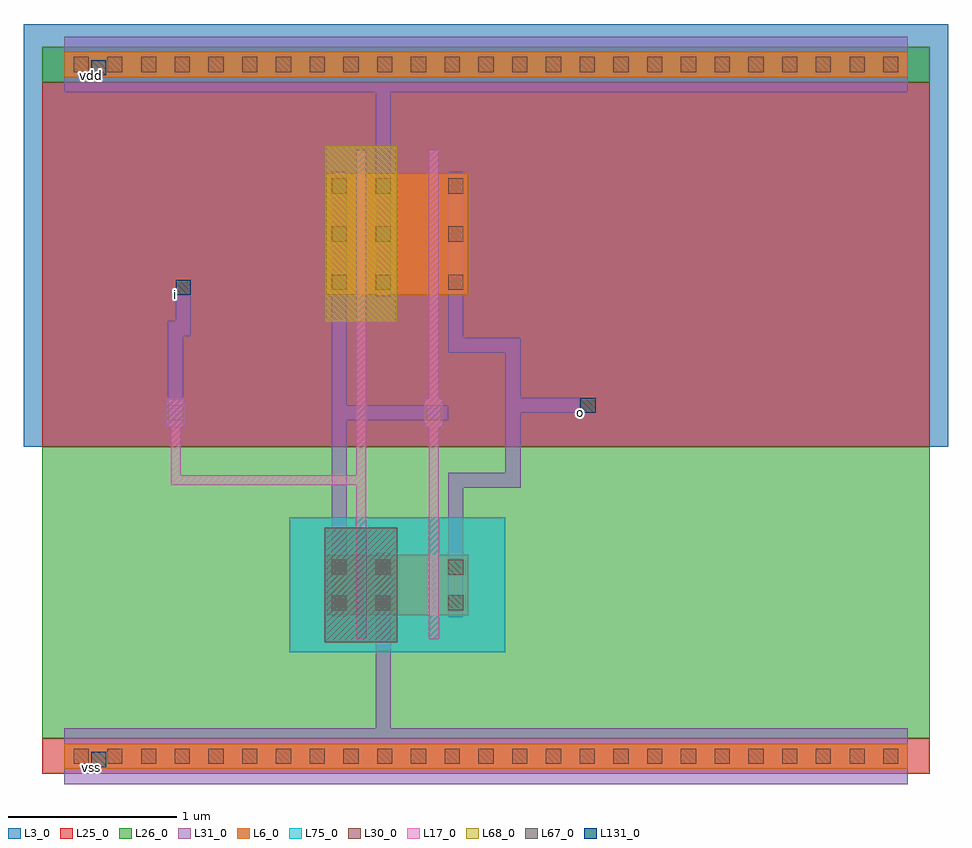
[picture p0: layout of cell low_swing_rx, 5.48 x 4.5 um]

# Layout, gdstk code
import gdstk
lib = gdstk.Library(unit=1e-6, precision=1e-09)
def R(c, l, rs):  # rectangles x0, y0, x1, y1
    for r in rs: c.add(gdstk.rectangle(r[:2], r[2:], *l))
def A(c, l, x, y, w, h, nx, ny, dx, dy):  # array of equal rectangles
    R(c, l, [(x+i*dx, y+j*dy, x+i*dx+w, y+j*dy+h) for i in range(nx) for j in range(ny)])
L3_0 = (3, 0)
L6_0 = (6, 0)
L17_0 = (17, 0)
L25_0 = (25, 0)
L26_0 = (26, 0)
L30_0 = (30, 0)
L31_0 = (31, 0)
L67_0 = (67, 0)
L68_0 = (68, 0)
L75_0 = (75, 0)
L131_0 = (131, 0)

nch_cdns_729715273090 = lib.new_cell('nch_CDNS_729715273090')
R(nch_cdns_729715273090, L6_0, [(-0.185,0,0,0.36), (0,0,0.06,0.36), (0.06,0,0.235,0.36)])
R(nch_cdns_729715273090, L17_0, [(0,-0.14,0.06,0), (0,0,0.06,0.36), (0,0.36,0.06,0.5)])
R(nch_cdns_729715273090, L30_0, [(0.115,0.03,0.205,0.12), (0.115,0.24,0.205,0.33)])
R(nch_cdns_729715273090, L31_0, [(0.115,-0.01,0.205,0.37)])
R(nch_cdns_729715273090, L75_0, [(-0.405,-0.22,0.455,0.58)])
nch_cdns_729715273090.add(gdstk.Label('& SerialNumber 000000', (0,0), layer=63, texttype=63))
nch_cdns_729715273090.add(gdstk.Label('& Distributor TSMC', (0,0), layer=63, texttype=63))
nch_cdns_729715273090.add(gdstk.Label('& Metric 1', (0,0), layer=63, texttype=63))
nch_cdns_729715273090.add(gdstk.Label('& PDK TechNode "CRN65LP"', (0,0), layer=63, texttype=63))
nch_cdns_729715273090.add(gdstk.Label('& Product    tsmcN65_PDK', (0,0), layer=63, texttype=63))
nch_cdns_729715273090.add(gdstk.Label('& Vendor     Taiwan Semiconductor manufacturing Corp.', (0,0), layer=63, texttype=63))
nch_cdns_729715273090.add(gdstk.Label('[@instanceName]', (0.03,0.18), layer=127, texttype=0))
nch_cdns_729715273090.add(gdstk.Label('nch\n0.36/0.06\n', (0,0), layer=127, texttype=0))
nch_cdns_729715273090.add(gdstk.Label('D', (0.16,0.18), layer=127, texttype=0))

pch_hvt_cdns_72971527309 = lib.new_cell('pch_hvt_CDNS_729715273091')
R(pch_hvt_cdns_72971527309, L3_0, [(-0.395,-0.22,0.465,0.94)])
R(pch_hvt_cdns_72971527309, L6_0, [(-0.175,0,0,0.72), (0,0,0.06,0.72), (0.06,0,0.245,0.72)])
R(pch_hvt_cdns_72971527309, L17_0, [(0,-0.14,0.06,0), (0,0,0.06,0.72), (0,0.72,0.06,0.86)])
A(pch_hvt_cdns_72971527309, L30_0, -0.145, 0.03, 0.09, 0.09, 1, 3, 0, 0.285)
A(pch_hvt_cdns_72971527309, L30_0, 0.115, 0.03, 0.09, 0.09, 1, 3, 0, 0.285)
R(pch_hvt_cdns_72971527309, L31_0, [(-0.145,-0.01,-0.055,0.73), (0.115,-0.01,0.205,0.73)])
R(pch_hvt_cdns_72971527309, L68_0, [(-0.185,-0.16,0.245,0.88)])
pch_hvt_cdns_72971527309.add(gdstk.Label('& SerialNumber 000000', (0,0), layer=63, texttype=63))
pch_hvt_cdns_72971527309.add(gdstk.Label('& Distributor TSMC', (0,0), layer=63, texttype=63))
pch_hvt_cdns_72971527309.add(gdstk.Label('& Metric 1', (0,0), layer=63, texttype=63))
pch_hvt_cdns_72971527309.add(gdstk.Label('& PDK TechNode "CRN65LP"', (0,0), layer=63, texttype=63))
pch_hvt_cdns_72971527309.add(gdstk.Label('& Product    tsmcN65_PDK', (0,0), layer=63, texttype=63))
pch_hvt_cdns_72971527309.add(gdstk.Label('& Vendor     Taiwan Semiconductor manufacturing Corp.', (0,0), layer=63, texttype=63))
pch_hvt_cdns_72971527309.add(gdstk.Label('[@instanceName]', (0.03,0.36), layer=127, texttype=0))
pch_hvt_cdns_72971527309.add(gdstk.Label('pch_hvt\n0.72/0.06\n', (0,0), layer=127, texttype=0))
pch_hvt_cdns_72971527309.add(gdstk.Label('S', (0.16,0.36), layer=127, texttype=0))
pch_hvt_cdns_72971527309.add(gdstk.Label('D', (-0.1,0.36), layer=127, texttype=0))

pch_cdns_729715273092 = lib.new_cell('pch_CDNS_729715273092')
R(pch_cdns_729715273092, L3_0, [(-0.405,-0.22,0.455,0.94)])
R(pch_cdns_729715273092, L6_0, [(-0.185,0,0,0.72), (0,0,0.06,0.72), (0.06,0,0.235,0.72)])
R(pch_cdns_729715273092, L17_0, [(0,-0.14,0.06,0), (0,0,0.06,0.72), (0,0.72,0.06,0.86)])
A(pch_cdns_729715273092, L30_0, 0.115, 0.03, 0.09, 0.09, 1, 3, 0, 0.285)
R(pch_cdns_729715273092, L31_0, [(0.115,-0.01,0.205,0.73)])
pch_cdns_729715273092.add(gdstk.Label('& SerialNumber 000000', (0,0), layer=63, texttype=63))
pch_cdns_729715273092.add(gdstk.Label('& Distributor TSMC', (0,0), layer=63, texttype=63))
pch_cdns_729715273092.add(gdstk.Label('& Metric 1', (0,0), layer=63, texttype=63))
pch_cdns_729715273092.add(gdstk.Label('& PDK TechNode "CRN65LP"', (0,0), layer=63, texttype=63))
pch_cdns_729715273092.add(gdstk.Label('& Product    tsmcN65_PDK', (0,0), layer=63, texttype=63))
pch_cdns_729715273092.add(gdstk.Label('& Vendor     Taiwan Semiconductor manufacturing Corp.', (0,0), layer=63, texttype=63))
pch_cdns_729715273092.add(gdstk.Label('[@instanceName]', (0.03,0.36), layer=127, texttype=0))
pch_cdns_729715273092.add(gdstk.Label('pch\n0.72/0.06\n', (0,0), layer=127, texttype=0))
pch_cdns_729715273092.add(gdstk.Label('D', (0.16,0.36), layer=127, texttype=0))

nch_hvt_cdns_72971527309 = lib.new_cell('nch_hvt_CDNS_729715273093')
R(nch_hvt_cdns_72971527309, L6_0, [(-0.175,0,0,0.36), (0,0,0.06,0.36), (0.06,0,0.245,0.36)])
R(nch_hvt_cdns_72971527309, L17_0, [(0,-0.14,0.06,0), (0,0,0.06,0.36), (0,0.36,0.06,0.5)])
R(nch_hvt_cdns_72971527309, L30_0, [(-0.145,0.03,-0.055,0.12), (0.115,0.03,0.205,0.12), (-0.145,0.24,-0.055,0.33), (0.115,0.24,0.205,0.33)])
R(nch_hvt_cdns_72971527309, L31_0, [(-0.145,-0.01,-0.055,0.37), (0.115,-0.01,0.205,0.37)])
R(nch_hvt_cdns_72971527309, L67_0, [(-0.185,-0.16,0.245,0.52)])
R(nch_hvt_cdns_72971527309, L75_0, [(-0.395,-0.22,0.465,0.58)])
nch_hvt_cdns_72971527309.add(gdstk.Label('& SerialNumber 000000', (0,0), layer=63, texttype=63))
nch_hvt_cdns_72971527309.add(gdstk.Label('& Distributor TSMC', (0,0), layer=63, texttype=63))
nch_hvt_cdns_72971527309.add(gdstk.Label('& Metric 1', (0,0), layer=63, texttype=63))
nch_hvt_cdns_72971527309.add(gdstk.Label('& PDK TechNode "CRN65LP"', (0,0), layer=63, texttype=63))
nch_hvt_cdns_72971527309.add(gdstk.Label('& Product    tsmcN65_PDK', (0,0), layer=63, texttype=63))
nch_hvt_cdns_72971527309.add(gdstk.Label('& Vendor     Taiwan Semiconductor manufacturing Corp.', (0,0), layer=63, texttype=63))
nch_hvt_cdns_72971527309.add(gdstk.Label('[@instanceName]', (0.03,0.18), layer=127, texttype=0))
nch_hvt_cdns_72971527309.add(gdstk.Label('nch_hvt\n0.36/0.06\n', (0,0), layer=127, texttype=0))
nch_hvt_cdns_72971527309.add(gdstk.Label('S', (0.16,0.18), layer=127, texttype=0))
nch_hvt_cdns_72971527309.add(gdstk.Label('D', (-0.1,0.18), layer=127, texttype=0))

m1_po_cdns_729715273090 = lib.new_cell('M1_PO_CDNS_729715273090')
R(m1_po_cdns_729715273090, L17_0, [(-0.055,-0.085,0.055,0.085)])
R(m1_po_cdns_729715273090, L30_0, [(-0.045,-0.045,0.045,0.045)])
R(m1_po_cdns_729715273090, L31_0, [(-0.085,-0.045,0.085,0.045)])

m1_po_cdns_729715273091 = lib.new_cell('M1_PO_CDNS_729715273091')
R(m1_po_cdns_729715273091, L17_0, [(-0.055,-0.085,0.055,0.085)])
R(m1_po_cdns_729715273091, L30_0, [(-0.045,-0.045,0.045,0.045)])
R(m1_po_cdns_729715273091, L31_0, [(-0.045,-0.085,0.045,0.085)])

low_swing_rx = lib.new_cell('low_swing_rx')
R(low_swing_rx, L3_0, [(0.4,2.7,5.88,5.205)])
R(low_swing_rx, L6_0, [(0.64,0.79,5.64,0.94), (0.64,4.89,5.64,5.04)])
R(low_swing_rx, L25_0, [(0.51,0.76,5.77,0.97), (0.51,2.7,5.77,4.86)])
R(low_swing_rx, L26_0, [(0.51,0.97,5.77,2.7), (0.51,4.86,5.77,5.07)])
A(low_swing_rx, L30_0, 0.695, 0.82, 0.09, 0.09, 14, 2, 0.2, 4.1)
A(low_swing_rx, L30_0, 3.695, 0.82, 0.09, 0.09, 10, 2, 0.2, 4.1)
R(low_swing_rx, L30_0, [(3.295,0.82,3.385,0.91), (3.495,0.82,3.585,0.91), (3.495,0.82,3.585,0.91), (3.695,0.82,3.785,0.91), (3.295,4.92,3.385,5.01), (3.495,4.92,3.585,5.01), (3.495,4.92,3.585,5.01), (3.695,4.92,3.785,5.01)])
R(low_swing_rx, L31_0, [(0.64,0.7,5.64,1.03), (0.64,4.8,5.64,5.13)])
R(low_swing_rx, L131_0, [(0.8,0.8,0.89,0.89), (3.7,2.9,3.79,2.99), (1.3,3.6,1.39,3.69), (0.8,4.9,0.89,4.99)])
low_swing_rx.add(gdstk.FlexPath([(1.3,2.9),(1.3,2.5)], 0.06, ends=(0, 0.03), simple_path=True, layer=17, datatype=0))  # L17_0
low_swing_rx.add(gdstk.FlexPath([(1.3,2.5),(2.4,2.5)], 0.06, ends="extended", simple_path=True, layer=17, datatype=0))  # L17_0
low_swing_rx.add(gdstk.FlexPath([(2.4,2.5),(2.4,2.2)], 0.06, ends=(0.03, 0), simple_path=True, layer=17, datatype=0))  # L17_0
low_swing_rx.add(gdstk.FlexPath([(2.83,3.46),(2.83,2.9)], 0.06, ends="flush", simple_path=True, layer=17, datatype=0))  # L17_0
low_swing_rx.add(gdstk.FlexPath([(2.83,2.9),(2.83,2.2)], 0.06, ends="flush", simple_path=True, layer=17, datatype=0))  # L17_0
low_swing_rx.add(gdstk.FlexPath([(2.4,3.46),(2.4,2.5)], 0.06, ends=(0, 0.03), simple_path=True, layer=17, datatype=0))  # L17_0
low_swing_rx.add(gdstk.FlexPath([(3.3,2.5),(3.3,2.945)], 0.09, ends="extended", simple_path=True, layer=31, datatype=0))  # L31_0
low_swing_rx.add(gdstk.FlexPath([(2.96,2.07),(2.96,2.5)], 0.09, ends=(0, 0.045), simple_path=True, layer=31, datatype=0))  # L31_0
low_swing_rx.add(gdstk.FlexPath([(1.3,3.4),(1.3,2.9)], 0.09, ends=(0.045, 0), simple_path=True, layer=31, datatype=0))  # L31_0
low_swing_rx.add(gdstk.FlexPath([(1.345,3.4),(1.3,3.4)], 0.09, ends="extended", simple_path=True, layer=31, datatype=0))  # L31_0
low_swing_rx.add(gdstk.FlexPath([(1.345,3.6),(1.345,3.4)], 0.09, ends=(0, 0.045), simple_path=True, layer=31, datatype=0))  # L31_0
low_swing_rx.add(gdstk.FlexPath([(2.27,2.9),(2.83,2.9)], 0.09, ends=(0.045, 0), simple_path=True, layer=31, datatype=0))  # L31_0
low_swing_rx.add(gdstk.FlexPath([(2.27,2.9),(2.27,2.07)], 0.09, ends=(0.045, 0), simple_path=True, layer=31, datatype=0))  # L31_0
low_swing_rx.add(gdstk.FlexPath([(2.27,3.59),(2.27,2.9)], 0.09, ends=(0, 0.045), simple_path=True, layer=31, datatype=0))  # L31_0
low_swing_rx.add(gdstk.FlexPath([(3.3,2.945),(3.3,3.3)], 0.09, ends="extended", simple_path=True, layer=31, datatype=0))  # L31_0
low_swing_rx.add(gdstk.FlexPath([(2.96,3.3),(2.96,3.59)], 0.09, ends=(0.045, 0), simple_path=True, layer=31, datatype=0))  # L31_0
low_swing_rx.add(gdstk.FlexPath([(3.7,2.945),(3.3,2.945)], 0.09, ends=(0, 0.045), simple_path=True, layer=31, datatype=0))  # L31_0
low_swing_rx.add(gdstk.FlexPath([(2.96,2.5),(3.3,2.5)], 0.09, ends="extended", simple_path=True, layer=31, datatype=0))  # L31_0
low_swing_rx.add(gdstk.FlexPath([(3.3,3.3),(2.96,3.3)], 0.09, ends="extended", simple_path=True, layer=31, datatype=0))  # L31_0
low_swing_rx.add(gdstk.FlexPath([(2.53,1.69),(2.53,1.03)], 0.09, ends="flush", simple_path=True, layer=31, datatype=0))  # L31_0
low_swing_rx.add(gdstk.FlexPath([(2.53,4.33),(2.53,4.8)], 0.09, ends="flush", simple_path=True, layer=31, datatype=0))  # L31_0
low_swing_rx.add(gdstk.Reference(nch_cdns_729715273090, (2.8,1.7)))
low_swing_rx.add(gdstk.Reference(pch_hvt_cdns_72971527309, (2.37,3.6)))
low_swing_rx.add(gdstk.Reference(pch_cdns_729715273092, (2.8,3.6)))
low_swing_rx.add(gdstk.Reference(nch_hvt_cdns_72971527309, (2.37,1.7)))
low_swing_rx.add(gdstk.Reference(m1_po_cdns_729715273090, (2.83,2.9)))
low_swing_rx.add(gdstk.Reference(m1_po_cdns_729715273091, (1.3,2.9)))
low_swing_rx.add(gdstk.Label('o', (3.7,2.9), layer=131, texttype=0))
low_swing_rx.add(gdstk.Label('vss', (0.8,0.8), layer=131, texttype=0))
low_swing_rx.add(gdstk.Label('vdd', (0.8,4.9), layer=131, texttype=0))
low_swing_rx.add(gdstk.Label('i', (1.3,3.6), layer=131, texttype=0))

lib.write_gds('low_swing_rx.gds')
